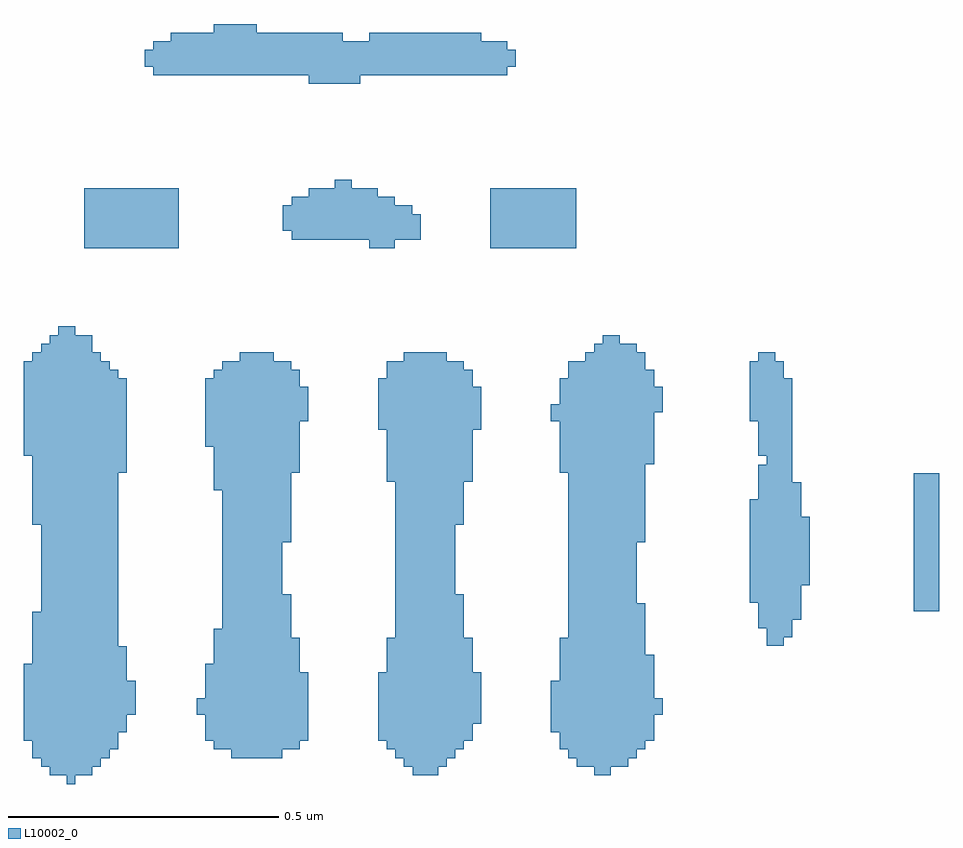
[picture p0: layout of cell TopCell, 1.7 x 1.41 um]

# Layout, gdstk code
import gdstk
lib = gdstk.Library(unit=1e-6, precision=1e-09)
def R(c, l, rs):  # rectangles x0, y0, x1, y1
    for r in rs: c.add(gdstk.rectangle(r[:2], r[2:], *l))
L10002_0 = (10002, 0)

topcell = lib.new_cell('TopCell')
R(topcell, L10002_0, [(1.232,1.12,1.247,1.967), (1.2,1.136,1.232,1.951), (1.247,1.136,1.279,1.951), (1.872,1.136,1.919,1.919), (2.208,1.136,2.239,1.935), (1.184,1.152,1.2,1.935), (1.279,1.152,1.295,1.919), (1.856,1.152,1.872,1.919), (1.919,1.152,1.935,1.919), (2.176,1.152,2.208,1.903), (2.239,1.152,2.255,1.951), (2.255,1.152,2.271,1.935), (1.168,1.168,1.184,1.439), (1.295,1.168,1.311,1.903), (1.536,1.168,1.631,1.903), (1.84,1.168,1.856,1.903), (1.935,1.168,1.951,1.903), (2.16,1.168,2.176,1.903), (2.271,1.168,2.287,1.935), (1.311,1.184,1.327,1.887), (1.504,1.184,1.536,1.407), (1.631,1.184,1.647,1.471), (1.647,1.184,1.663,1.391), (1.824,1.184,1.84,1.391), (1.951,1.184,1.967,1.471), (2.144,1.184,2.16,1.391), (2.287,1.184,2.303,1.455), (1.152,1.2,1.168,1.343), (1.488,1.2,1.504,1.343), (1.663,1.2,1.679,1.327), (1.808,1.2,1.824,1.327), (1.967,1.2,1.983,1.391), (2.303,1.2,2.319,1.359), (1.327,1.216,1.343,1.375), (2.128,1.216,2.144,1.311), (1.983,1.232,1.999,1.327), (1.343,1.248,1.359,1.311), (1.472,1.248,1.488,1.279), (2.319,1.248,2.335,1.279), (2.528,1.376,2.543,1.919), (2.543,1.376,2.559,1.903), (2.559,1.392,2.575,1.871), (1.52,1.407,1.536,1.903), (2.512,1.408,2.528,1.711), (2.575,1.424,2.591,1.679), (2.8,1.44,2.847,1.695), (2.496,1.456,2.512,1.647), (2.591,1.488,2.607,1.615), (1.631,1.568,1.647,1.903), (2.287,1.568,2.303,1.919), (1.168,1.6,1.184,1.919), (1.951,1.6,1.967,1.903), (1.504,1.664,1.52,1.887), (1.824,1.68,1.84,1.903), (1.967,1.68,1.983,1.887), (1.327,1.696,1.343,1.871), (1.647,1.696,1.663,1.887), (2.144,1.696,2.16,1.871), (2.303,1.712,2.319,1.887), (1.152,1.728,1.168,1.903), (2.512,1.728,2.528,1.919), (1.488,1.744,1.504,1.871), (1.808,1.776,1.824,1.871), (1.983,1.776,1.999,1.855), (1.663,1.792,1.679,1.855), (2.128,1.792,2.144,1.823), (2.496,1.792,2.512,1.903), (2.319,1.808,2.335,1.855), (1.552,1.903,1.615,1.919), (2.192,1.903,2.208,1.919), (2.224,1.935,2.239,1.951), (1.216,1.951,1.232,1.967), (1.264,2.112,1.439,2.223), (1.792,2.112,1.807,2.223), (1.807,2.112,1.839,2.207), (2.016,2.112,2.175,2.223), (1.648,2.128,1.792,2.207), (1.839,2.128,1.871,2.191), (1.871,2.128,1.887,2.175), (1.632,2.144,1.648,2.191), (1.68,2.207,1.792,2.223), (1.728,2.223,1.759,2.239), (1.68,2.416,1.743,2.511), (1.743,2.416,1.775,2.495), (1.392,2.432,1.68,2.495), (1.775,2.432,2.047,2.495), (1.376,2.448,1.392,2.479), (2.047,2.448,2.063,2.479), (1.424,2.495,1.68,2.511), (1.792,2.495,1.999,2.511), (1.504,2.511,1.583,2.527)])

lib.write_gds('TopCell.gds')
